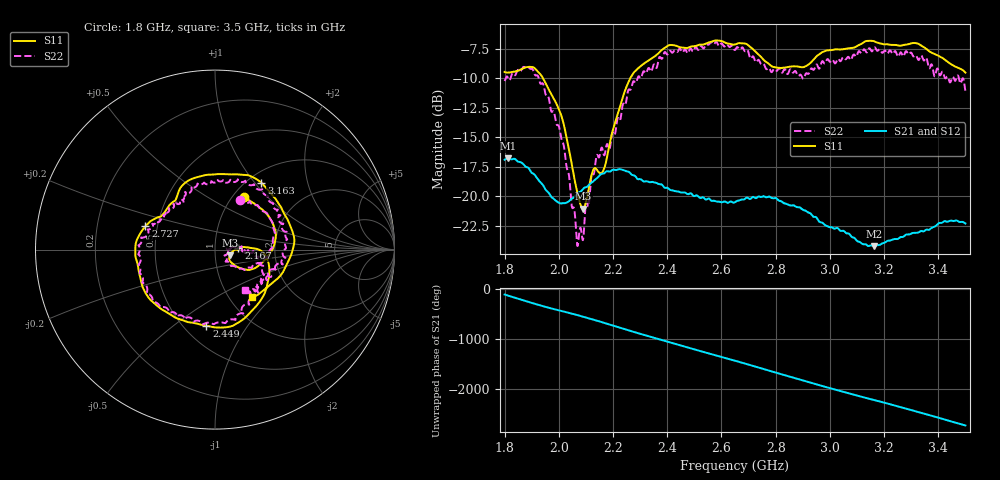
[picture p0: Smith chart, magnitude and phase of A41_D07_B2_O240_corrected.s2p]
! Created with skrf 1.9.0 (http://scikit-rf.org).
# Hz S RI R 50.0
!freq ReS11 ImS11 ReS21 ImS21 ReS12 ImS12 ReS22 ImS22
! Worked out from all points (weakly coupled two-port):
!   1601 points, 1.8 GHz to 3.5 GHz, reference 50 ohm
!   highest |S21| = -16.79 dB at 1.812 GHz (marker M1); lowest = -24.2 dB at 3.162 GHz (marker M2)
!   lowest |S11| = -21.0 dB at 2.09 GHz (marker M3), VSWR 1.19, Z = 58.9 - j3.82 ohm
!   |S11| at or under -10 dB: 1.942 GHz to 2.264 GHz (322 MHz wide, 15.3 % of centre)
!   |S22| runs from -24.2 to -6.9 dB; largest |S21 - S12| = 0.0027
!   S11 on the Smith chart (normalised r, x): 1.8 GHz: 1.12, +0.75; 2.167 GHz: 1.30, +0.03; 2.449 GHz: 0.64, -0.66; 2.727 GHz: 0.43, +0.13; 3.163 GHz: 1.16, +1.08; 3.5 GHz: 1.27, -0.75
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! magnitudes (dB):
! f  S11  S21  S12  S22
! 1.8 GHz  -9.5  -16.9  -16.9  -10.2
! 1.812 GHz  -9.5  -16.8  -16.8  -9.9
! 1.883 GHz  -9.1  -17.5  -17.6  -9.0
! 1.942 GHz  -10.0  -19.1  -19.1  -10.5
! 2.011 GHz  -13.3  -20.6  -20.6  -15.3
! 2.067 GHz  -19.5  -19.8  -19.8  -23.9
! 2.084 GHz  -20.9  -19.5  -19.5  -23.1
! 2.09 GHz  -21.0  -19.4  -19.4  -23.6
! 2.135 GHz  -17.6  -18.6  -18.6  -17.2
! 2.167 GHz  -17.7  -18.1  -18.0  -16.5
! 2.26 GHz  -10.2  -18.0  -18.0  -10.9
! 2.367 GHz  -7.9  -19.0  -18.9  -8.5
! 2.449 GHz  -7.4  -19.7  -19.7  -7.6
! 2.65 GHz  -7.1  -20.5  -20.5  -7.6
! 2.727 GHz  -7.8  -20.2  -20.2  -8.6
! 2.8 GHz  -9.1  -20.1  -20.2  -9.3
! 2.934 GHz  -8.6  -21.6  -21.6  -9.2
! 3.162 GHz  -6.9  -24.2  -24.2  -7.5
! 3.163 GHz  -6.9  -24.2  -24.2  -7.4
! 3.217 GHz  -7.1  -23.7  -23.7  -7.8
! 3.324 GHz  -7.1  -23.1  -23.0  -8.3
! 3.5 GHz  -9.5  -22.3  -22.3  -11.1
